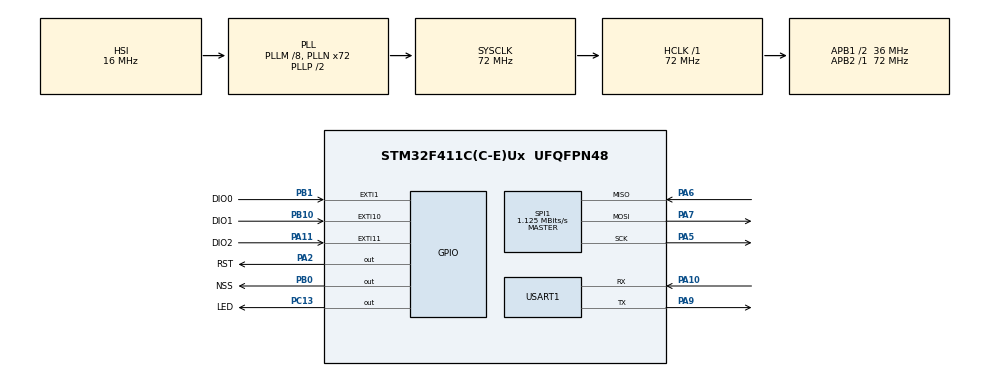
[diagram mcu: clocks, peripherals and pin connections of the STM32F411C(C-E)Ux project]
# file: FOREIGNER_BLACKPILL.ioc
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Mcu.Family=STM32F4
Mcu.Name=STM32F411C(C-E)Ux
Mcu.Package=UFQFPN48
NVIC.EXTI15_10_IRQn=true\:0\:0\:false\:false\:true\:true\:true\:true
NVIC.EXTI1_IRQn=true\:0\:0\:false\:false\:true\:true\:true\:true
NVIC.PriorityGroup=NVIC_PRIORITYGROUP_4
NVIC.TIM4_IRQn=true\:0\:0\:false\:false\:true\:true\:true\:true
PA10.Mode=Asynchronous
PA10.Signal=USART1_RX
PA11.GPIO_Label=DIO2
PA11.Signal=GPXTI11
PA13.Mode=Serial_Wire
PA13.Signal=SYS_JTMS-SWDIO
PA14.Mode=Serial_Wire
PA14.Signal=SYS_JTCK-SWCLK
PA2.GPIO_Label=RST
PA2.Signal=GPIO_Output
PA5.Mode=Full_Duplex_Master
PA5.Signal=SPI1_SCK
PA6.Mode=Full_Duplex_Master
PA6.Signal=SPI1_MISO
PA7.Mode=Full_Duplex_Master
PA7.Signal=SPI1_MOSI
PA9.Mode=Asynchronous
PA9.Signal=USART1_TX
PB0.GPIO_Label=NSS
PB0.Signal=GPIO_Output
PB1.GPIO_Label=DIO0
PB1.Signal=GPXTI1
PB10.GPIO_Label=DIO1
PB10.Signal=GPXTI10
PC13-ANTI_TAMP.GPIO_Label=LED
PC13-ANTI_TAMP.Signal=GPIO_Output
PC14-OSC32_IN.Mode=LSE-External-Oscillator
PC14-OSC32_IN.Signal=RCC_OSC32_IN
PC15-OSC32_OUT.Mode=LSE-External-Oscillator
PC15-OSC32_OUT.Signal=RCC_OSC32_OUT
PH0\ -\ OSC_IN.Mode=HSE-External-Oscillator
PH0\ -\ OSC_IN.Signal=RCC_OSC_IN
PH1\ -\ OSC_OUT.Mode=HSE-External-Oscillator
PH1\ -\ OSC_OUT.Signal=RCC_OSC_OUT
ProjectManager.HeapSize=0x200
ProjectManager.StackSize=0x400
ProjectManager.TargetToolchain=STM32CubeIDE
RCC.48MHZClocksFreq_Value=36000000
RCC.AHBFreq_Value=72000000
RCC.APB1CLKDivider=RCC_HCLK_DIV2
RCC.APB1Freq_Value=36000000
RCC.APB1TimFreq_Value=72000000
RCC.APB2Freq_Value=72000000
RCC.APB2TimFreq_Value=72000000
RCC.CortexFreq_Value=72000000
RCC.HCLKFreq_Value=72000000
RCC.HSE_VALUE=25000000
RCC.HSI_VALUE=16000000
RCC.PLLM=8
RCC.PLLN=72
RCC.SYSCLKFreq_VALUE=72000000
RCC.SYSCLKSource=RCC_SYSCLKSOURCE_PLLCLK
RCC.VCOOutputFreq_Value=144000000
SPI1.BaudRatePrescaler=SPI_BAUDRATEPRESCALER_64
SPI1.CalculateBaudRate=1.125 MBits/s
SPI1.Direction=SPI_DIRECTION_2LINES
SPI1.Mode=SPI_MODE_MASTER
SPI1.VirtualType=VM_MASTER
TIM4.Channel-Output\ Compare1\ No\ Output=TIM_CHANNEL_1
TIM4.Period=65535-1
TIM4.Prescaler=2250-1
USART1.VirtualMode=VM_ASYNC
VP_TIM4_VS_no_output1.Mode=Output Compare1 No Output
board=custom

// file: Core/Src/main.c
/* USER CODE BEGIN Header */
/**
  ******************************************************************************
  * @file           : main.c
  * @brief          : Main program body
  ******************************************************************************
  * @attention
  *
  * Copyright (c) 2023 STMicroelectronics.
  * All rights reserved.
  *
  * This software is licensed under terms that can be found in the LICENSE file
  * in the root directory of this software component.
  * If no LICENSE file comes with this software, it is provided AS-IS.
  *
  ******************************************************************************
  */
/* USER CODE END Header */
#include "main.h"

/* USER CODE BEGIN Includes */
#include "lmic.h"
#include "debug.h"
/* USER CODE END Includes */

SPI_HandleTypeDef hspi1;

TIM_HandleTypeDef htim4;

UART_HandleTypeDef huart1;

/* USER CODE BEGIN PV */
// application router ID (LSBF)  < ------- IMPORTANT
static const u1_t APPEUI[8]  = { 0xCA, 0xAF, 0x00, 0xD0, 0x7E, 0xD5, 0xB3, 0x70 };
// unique device ID (LSBF)       < ------- IMPORTANT
static const u1_t DEVEUI[8]  = { 0x66, 0x55, 0x44, 0x33, 0x02, 0x1B, 0x01, 0x26 };

// device-specific AES key (derived from device EUI)
static const u1_t DEVKEY[16] = { 0x29, 0x2D, 0xD9, 0xB3, 0xF2, 0xDA, 0x4C, 0x59, 0x1D, 0xCE, 0x06, 0x0F, 0x1B, 0x56, 0x6F, 0xF3 };
//ABP
static const u1_t NWKSKEY[16] = { 0xd0, 0xff, 0x84, 0x27, 0x1f, 0x21, 0x43, 0x63, 0x8e, 0xff, 0xbf, 0x8e, 0xb7, 0x41, 0x17, 0xc2 };
static const u1_t APPSKEY[16] = { 0x9d, 0xa0, 0x05, 0xbd, 0x28, 0xc5, 0x1d, 0xb5, 0x42, 0x64, 0x1b, 0xe6, 0x90, 0xdd, 0x53, 0x2e };
static const u4_t DEVADDR = 0x260117A4;
/* USER CODE END PV */

void SystemClock_Config(void);
static void MX_GPIO_Init(void);
static void MX_SPI1_Init(void);
static void MX_TIM4_Init(void);
static void MX_USART1_UART_Init(void);

/* USER CODE BEGIN 0 */
// provide application router ID (8 bytes, LSBF)
void os_getArtEui (u1_t* buf) {
    memcpy(buf, APPEUI, 8);
}

// provide device ID (8 bytes, LSBF)
void os_getDevEui (u1_t* buf) {
    memcpy(buf, DEVEUI, 8);
}

// provide device key (16 bytes)
void os_getDevKey (u1_t* buf) {
    memcpy(buf, DEVKEY, 16);
}

void initsensor(){
	 // Here you init your sensors
}
u2_t readsensor(){
	u2_t value = 0xDC;    /// read from evrything ...make your own sensor
	return value;
}

static osjob_t reportjob;
//uint8_t mydata[] = "hello tanuj";
// report sensor value every minute
static void reportfunc (osjob_t* j) {
    // read sensor
    u2_t val = readsensor();
   // static uint8_t mydata[] = "hello tanuj"; //add by tanuj
    debug_val("val = ", val);
    // prepare and schedule data for transmission
    LMIC.frame[0] = val << 8;
    LMIC.frame[1] = val;
  LMIC_setTxData2(1, LMIC.frame, 2, 0); // (port 1, 2 bytes, unconfirmed) // comment by tanuj
   // LMIC_setTxData2(1, mydata, sizeof(mydata)-1, 0); // add by tanuj
    // reschedule job in 60 seconds
   os_setTimedCallback(j, os_getTime()+sec2osticks(300), reportfunc);
}

void initfunc (osjob_t* j) {
    // intialize sensor hardware
    initsensor();
    // reset MAC state
    LMIC_reset();
    // start joining
    LMIC_startJoining();
    // init done - onEvent() callback will be invoked...

       uint8_t appskey[sizeof(APPSKEY)];
       uint8_t nwkskey[sizeof(NWKSKEY)];
       memcpy(appskey, APPSKEY, sizeof(APPSKEY));
       memcpy(nwkskey, NWKSKEY, sizeof(NWKSKEY));
       LMIC_setSession (0x1, DEVADDR, nwkskey, appskey);

     LMIC_setupChannel(0, 868100000, DR_RANGE_MAP(DR_SF12, DR_SF7),  BAND_CENTI);      // g-band
     LMIC_setupChannel(1, 868300000, DR_RANGE_MAP(DR_SF12, DR_SF7B), BAND_CENTI);      // g-band
     LMIC_setupChannel(2, 868500000, DR_RANGE_MAP(DR_SF12, DR_SF7),  BAND_CENTI);      // g-band
     LMIC_setupChannel(3, 867100000, DR_RANGE_MAP(DR_SF12, DR_SF7),  BAND_CENTI);      // g-band
     LMIC_setupChannel(4, 867300000, DR_RANGE_MAP(DR_SF12, DR_SF7),  BAND_CENTI);      // g-band
     LMIC_setupChannel(5, 867500000, DR_RANGE_MAP(DR_SF12, DR_SF7),  BAND_CENTI);      // g-band
     LMIC_setupChannel(6, 867700000, DR_RANGE_MAP(DR_SF12, DR_SF7),  BAND_CENTI);      // g-band
     LMIC_setupChannel(7, 867900000, DR_RANGE_MAP(DR_SF12, DR_SF7),  BAND_CENTI);      // g-band
     LMIC_setupChannel(8, 868800000, DR_RANGE_MAP(DR_FSK,  DR_FSK),  BAND_MILLI);      // g2-band
     //  LMIC_setupChannel(0, 865062500, DR_RANGE_MAP(DR_SF12, DR_SF7),  BAND_MILLI);
     //  LMIC_setupChannel(1, 865402500, DR_RANGE_MAP(DR_SF12, DR_SF7),  BAND_MILLI);
     //  LMIC_setupChannel(2, 865985000, DR_RANGE_MAP(DR_SF12, DR_SF7),  BAND_MILLI);
     // LMIC_setupChannel(3, 866247500, DR_RANGE_MAP(DR_SF12, DR_SF7),  BAND_CENTI);
    //  LMIC_setupChannel(4, 866847500, DR_RANGE_MAP(DR_SF12, DR_SF7),  BAND_CENTI);
    //  LMIC_setupChannel(5, 867130000, DR_RANGE_MAP(DR_SF12, DR_SF7),  BAND_CENTI);
    //  LMIC_setupChannel(6, 867560000, DR_RANGE_MAP(DR_SF12, DR_SF7),  BAND_CENTI);
    //  LMIC_setupChannel(7, 867892500, DR_RANGE_MAP(DR_SF12, DR_SF7),  BAND_CENTI);
    //   LMIC_setupChannel(8, 868000000, DR_RANGE_MAP(DR_FSK, DR_FSK),  BAND_MILLI);

       // Disable link check validation
       LMIC_setLinkCheckMode(0);
       // TTN uses SF9 for its RX2 window.
       LMIC.dn2Dr = DR_SF9;
       // Set data rate and transmit power for uplink (note: txpow seems to be ignored by the library)
       LMIC_setDrTxpow(DR_SF7,14);

     os_setTimedCallback(j, os_getTime(), reportfunc);
     // os_setTimedCallback(j, os_getTime()+sec2osticks(), reportfunc);
}

//////////////////////////////////////////////////
// LMIC EVENT CALLBACK
//////////////////////////////////////////////////

void onEvent (ev_t ev) {
    debug_event(ev);

    switch(ev) {

      // network joined, session established
      case EV_JOINING:
       	  debug_str("try joining\r\n");
       	  break;
      case EV_JOINED:
          debug_led(1);
          // kick-off periodic sensor job
          reportfunc(&reportjob);
          break;
      case EV_JOIN_FAILED:
    	  debug_str("join failed\r\n");
    	  break;
      case EV_SCAN_TIMEOUT:
    	  debug_str("EV_SCAN_TIMEOUT\r\n");
		  break;
	  case EV_BEACON_FOUND:
		  debug_str("EV_BEACON_FOUND\r\n");
		  break;
	  case EV_BEACON_MISSED:
		  debug_str("EV_BEACON_MISSED\r\n");
		  break;
	  case EV_BEACON_TRACKED:
		  debug_str("EV_BEACON_TRACKED\r\n");
		  break;
	  case EV_RFU1:
		  debug_str("EV_RFU1\r\n");
		  break;
	  case EV_REJOIN_FAILED:
		  debug_str("EV_REJOIN_FAILED\r\n");
		  break;
	  case EV_TXCOMPLETE:
		  debug_str("EV_TXCOMPLETE (includes waiting for RX windows)\r\n");
		  if (LMIC.txrxFlags & TXRX_ACK)
			  debug_str("Received ack\r\n");
		  if (LMIC.dataLen) {
			  debug_str("Received ");
			  debug_str(LMIC.dataLen);
			  debug_str(" bytes of payload\r\n");
		  }
//		  os_setTimedCallback(j, os_getTime()+sec2osticks(30), reportfunc);
		  break;
	  case EV_LOST_TSYNC:
		  debug_str("EV_LOST_TSYNC\r\n");
		  break;
	  case EV_RESET:
		  debug_str("EV_RESET\r\n");
		  break;
	  case EV_RXCOMPLETE:
		  // data received in ping slot
		  debug_str("EV_RXCOMPLETE\r\n");
		  break;
	  case EV_LINK_DEAD:
		  debug_str("EV_LINK_DEAD\r\n");
		  break;
	  case EV_LINK_ALIVE:
		  debug_str("EV_LINK_ALIVE\r\n");
		  break;
	  default:
		   debug_str("Unknown event\r\n");
		  break;
    }
}
/* USER CODE END 0 */

int main(void)
{

  /* MCU Configuration--------------------------------------------------------*/

  /* Reset of all peripherals, Initializes the Flash interface and the Systick. */
  HAL_Init();

  /* Configure the system clock */
  SystemClock_Config();

  /* Initialize all configured peripherals */
  MX_GPIO_Init();
  MX_SPI1_Init();
  MX_TIM4_Init();
  MX_USART1_UART_Init();
  /* USER CODE BEGIN 2 */
  HAL_TIM_Base_Start_IT(&htim4);    // <-----------  change to your setup
   __HAL_SPI_ENABLE(&hspi1);         // <-----------  change to your setup

   osjob_t initjob;

   // initialize runtime env
   os_init();

   // initialize debug library
   debug_init();
   // setup initial job
    os_setCallback(&initjob, initfunc);
   // execute scheduled jobs and events
   os_runloop();
   // (not reached)
   return 0;
  /* USER CODE END 2 */

  /* Infinite loop */
  while (1)
  {

  }
}

void SystemClock_Config(void)
{
  RCC_OscInitTypeDef RCC_OscInitStruct = {0};
  RCC_ClkInitTypeDef RCC_ClkInitStruct = {0};

  /** Configure the main internal regulator output voltage
  */
  __HAL_RCC_PWR_CLK_ENABLE();
  __HAL_PWR_VOLTAGESCALING_CONFIG(PWR_REGULATOR_VOLTAGE_SCALE1);

  /** Initializes the RCC Oscillators according to the specified parameters
  * in the RCC_OscInitTypeDef structure.
  */
  RCC_OscInitStruct.OscillatorType = RCC_OSCILLATORTYPE_HSI;
  RCC_OscInitStruct.HSIState = RCC_HSI_ON;
  RCC_OscInitStruct.HSICalibrationValue = RCC_HSICALIBRATION_DEFAULT;
  RCC_OscInitStruct.PLL.PLLState = RCC_PLL_ON;
  RCC_OscInitStruct.PLL.PLLSource = RCC_PLLSOURCE_HSI;
  RCC_OscInitStruct.PLL.PLLM = 8;
  RCC_OscInitStruct.PLL.PLLN = 72;
  RCC_OscInitStruct.PLL.PLLP = RCC_PLLP_DIV2;
  RCC_OscInitStruct.PLL.PLLQ = 4;
  if (HAL_RCC_OscConfig(&RCC_OscInitStruct) != HAL_OK)
  {
    Error_Handler();
  }

  /** Initializes the CPU, AHB and APB buses clocks
  */
  RCC_ClkInitStruct.ClockType = RCC_CLOCKTYPE_HCLK|RCC_CLOCKTYPE_SYSCLK
                              |RCC_CLOCKTYPE_PCLK1|RCC_CLOCKTYPE_PCLK2;
  RCC_ClkInitStruct.SYSCLKSource = RCC_SYSCLKSOURCE_PLLCLK;
  RCC_ClkInitStruct.AHBCLKDivider = RCC_SYSCLK_DIV1;
  RCC_ClkInitStruct.APB1CLKDivider = RCC_HCLK_DIV2;
  RCC_ClkInitStruct.APB2CLKDivider = RCC_HCLK_DIV1;

  if (HAL_RCC_ClockConfig(&RCC_ClkInitStruct, FLASH_LATENCY_2) != HAL_OK)
  {
    Error_Handler();
  }
}

static void MX_SPI1_Init(void)
{

  /* SPI1 parameter configuration*/
  hspi1.Instance = SPI1;
  hspi1.Init.Mode = SPI_MODE_MASTER;
  hspi1.Init.Direction = SPI_DIRECTION_2LINES;
  hspi1.Init.DataSize = SPI_DATASIZE_8BIT;
  hspi1.Init.CLKPolarity = SPI_POLARITY_LOW;
  hspi1.Init.CLKPhase = SPI_PHASE_1EDGE;
  hspi1.Init.NSS = SPI_NSS_SOFT;
  hspi1.Init.BaudRatePrescaler = SPI_BAUDRATEPRESCALER_64;
  hspi1.Init.FirstBit = SPI_FIRSTBIT_MSB;
  hspi1.Init.TIMode = SPI_TIMODE_DISABLE;
  hspi1.Init.CRCCalculation = SPI_CRCCALCULATION_DISABLE;
  hspi1.Init.CRCPolynomial = 10;
  if (HAL_SPI_Init(&hspi1) != HAL_OK)
  {
    Error_Handler();
  }

}

static void MX_TIM4_Init(void)
{

  TIM_MasterConfigTypeDef sMasterConfig = {0};
  TIM_OC_InitTypeDef sConfigOC = {0};

  htim4.Instance = TIM4;
  htim4.Init.Prescaler = 2250-1;
  htim4.Init.CounterMode = TIM_COUNTERMODE_UP;
  htim4.Init.Period = 65535-1;
  htim4.Init.ClockDivision = TIM_CLOCKDIVISION_DIV1;
  htim4.Init.AutoReloadPreload = TIM_AUTORELOAD_PRELOAD_DISABLE;
  if (HAL_TIM_OC_Init(&htim4) != HAL_OK)
  {
    Error_Handler();
  }
  sMasterConfig.MasterOutputTrigger = TIM_TRGO_RESET;
  sMasterConfig.MasterSlaveMode = TIM_MASTERSLAVEMODE_DISABLE;
  if (HAL_TIMEx_MasterConfigSynchronization(&htim4, &sMasterConfig) != HAL_OK)
  {
    Error_Handler();
  }
  sConfigOC.OCMode = TIM_OCMODE_TIMING;
  sConfigOC.Pulse = 0;
  sConfigOC.OCPolarity = TIM_OCPOLARITY_HIGH;
  sConfigOC.OCFastMode = TIM_OCFAST_DISABLE;
  if (HAL_TIM_OC_ConfigChannel(&htim4, &sConfigOC, TIM_CHANNEL_1) != HAL_OK)
  {
    Error_Handler();
  }

}

static void MX_USART1_UART_Init(void)
{

  huart1.Instance = USART1;
  huart1.Init.BaudRate = 115200;
  huart1.Init.WordLength = UART_WORDLENGTH_8B;
  huart1.Init.StopBits = UART_STOPBITS_1;
  huart1.Init.Parity = UART_PARITY_NONE;
  huart1.Init.Mode = UART_MODE_TX_RX;
  huart1.Init.HwFlowCtl = UART_HWCONTROL_NONE;
  huart1.Init.OverSampling = UART_OVERSAMPLING_16;
  if (HAL_UART_Init(&huart1) != HAL_OK)
  {
    Error_Handler();
  }

}

static void MX_GPIO_Init(void)
{
  GPIO_InitTypeDef GPIO_InitStruct = {0};

  /* GPIO Ports Clock Enable */
  __HAL_RCC_GPIOC_CLK_ENABLE();
  __HAL_RCC_GPIOH_CLK_ENABLE();
  __HAL_RCC_GPIOA_CLK_ENABLE();
  __HAL_RCC_GPIOB_CLK_ENABLE();

  /*Configure GPIO pin Output Level */
  HAL_GPIO_WritePin(LED_GPIO_Port, LED_Pin, GPIO_PIN_RESET);

  /*Configure GPIO pin Output Level */
  HAL_GPIO_WritePin(RST_GPIO_Port, RST_Pin, GPIO_PIN_RESET);

  /*Configure GPIO pin Output Level */
  HAL_GPIO_WritePin(NSS_GPIO_Port, NSS_Pin, GPIO_PIN_RESET);

  /*Configure GPIO pin : LED_Pin */
  GPIO_InitStruct.Pin = LED_Pin;
  GPIO_InitStruct.Mode = GPIO_MODE_OUTPUT_PP;
  GPIO_InitStruct.Pull = GPIO_NOPULL;
  GPIO_InitStruct.Speed = GPIO_SPEED_FREQ_LOW;
  HAL_GPIO_Init(LED_GPIO_Port, &GPIO_InitStruct);

  /*Configure GPIO pin : RST_Pin */
  GPIO_InitStruct.Pin = RST_Pin;
  GPIO_InitStruct.Mode = GPIO_MODE_OUTPUT_PP;
  GPIO_InitStruct.Pull = GPIO_NOPULL;
  GPIO_InitStruct.Speed = GPIO_SPEED_FREQ_LOW;
  HAL_GPIO_Init(RST_GPIO_Port, &GPIO_InitStruct);

  /*Configure GPIO pin : NSS_Pin */
  GPIO_InitStruct.Pin = NSS_Pin;
  GPIO_InitStruct.Mode = GPIO_MODE_OUTPUT_PP;
  GPIO_InitStruct.Pull = GPIO_NOPULL;
  GPIO_InitStruct.Speed = GPIO_SPEED_FREQ_LOW;
  HAL_GPIO_Init(NSS_GPIO_Port, &GPIO_InitStruct);

  /*Configure GPIO pins : DIO0_Pin DIO1_Pin */
  GPIO_InitStruct.Pin = DIO0_Pin|DIO1_Pin;
  GPIO_InitStruct.Mode = GPIO_MODE_IT_RISING;
  GPIO_InitStruct.Pull = GPIO_NOPULL;
  HAL_GPIO_Init(GPIOB, &GPIO_InitStruct);

  /*Configure GPIO pin : DIO2_Pin */
  GPIO_InitStruct.Pin = DIO2_Pin;
  GPIO_InitStruct.Mode = GPIO_MODE_IT_RISING;
  GPIO_InitStruct.Pull = GPIO_NOPULL;
  HAL_GPIO_Init(DIO2_GPIO_Port, &GPIO_InitStruct);

  /* EXTI interrupt init*/
  HAL_NVIC_SetPriority(EXTI1_IRQn, 0, 0);
  HAL_NVIC_EnableIRQ(EXTI1_IRQn);

  HAL_NVIC_SetPriority(EXTI15_10_IRQn, 0, 0);
  HAL_NVIC_EnableIRQ(EXTI15_10_IRQn);

}

void Error_Handler(void)
{
  __disable_irq();
  while (1)
  {
  }
}
